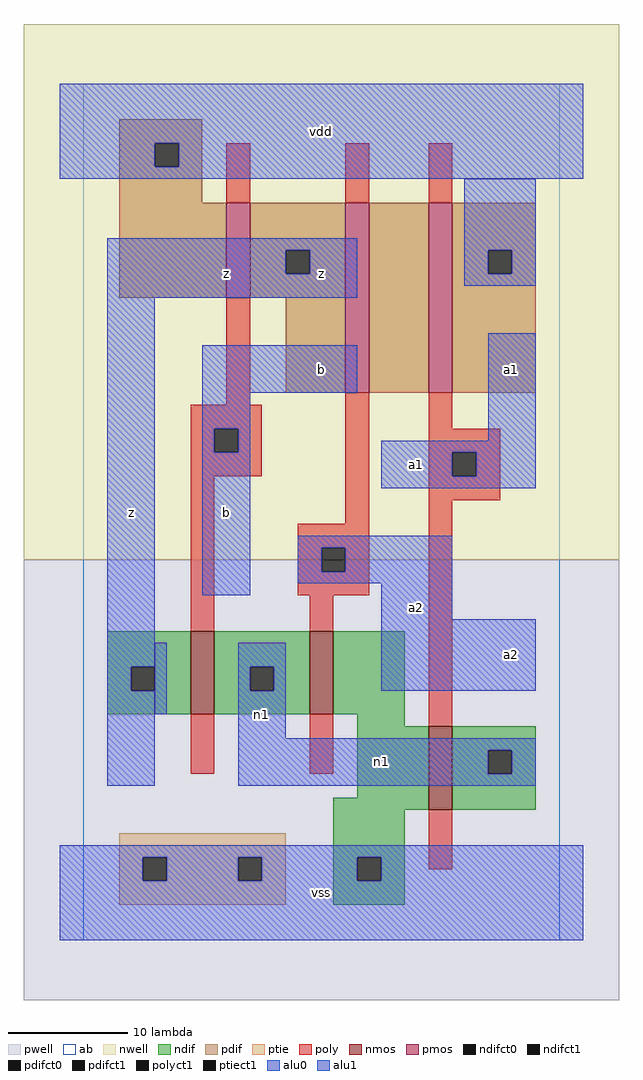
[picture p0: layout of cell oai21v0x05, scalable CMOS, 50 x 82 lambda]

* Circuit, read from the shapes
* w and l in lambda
.subckt oai21v0x05 a1 a2 b n1 vdd vss z
M1 n1 b z vss nfet w=7 l=2
M2 vss a2 n1 vss nfet w=7 l=2
M3 n1 a1 vss vss nfet w=7 l=2
M4 z b vdd n2 pfet w=8 l=2
M5 n3 a2 z n2 pfet w=16 l=2
M6 vdd a1 n3 n2 pfet w=16 l=2
.ends

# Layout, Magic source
magic
tech scmos
<< ab >>
rect 0 0 40 72
<< nwell >>
rect -5 32 45 77
<< pwell >>
rect -5 -5 45 32
<< poly >>
rect 12 62 14 67
rect 22 62 24 67
rect 29 62 31 67
rect 12 45 14 54
rect 9 43 15 45
rect 9 41 11 43
rect 13 41 15 43
rect 9 39 15 41
rect 9 26 11 39
rect 22 35 24 46
rect 18 33 24 35
rect 18 31 20 33
rect 22 31 24 33
rect 18 29 24 31
rect 29 43 31 46
rect 29 41 35 43
rect 29 39 31 41
rect 33 39 35 41
rect 29 37 35 39
rect 19 26 21 29
rect 9 14 11 19
rect 19 14 21 19
rect 29 18 31 37
rect 29 6 31 11
<< ndif >>
rect 2 23 9 26
rect 2 21 4 23
rect 6 21 9 23
rect 2 19 9 21
rect 11 23 19 26
rect 11 21 14 23
rect 16 21 19 23
rect 11 19 19 21
rect 21 19 27 26
rect 23 18 27 19
rect 23 12 29 18
rect 21 11 29 12
rect 31 16 38 18
rect 31 14 34 16
rect 36 14 38 16
rect 31 11 38 14
rect 21 7 27 11
rect 21 5 23 7
rect 25 5 27 7
rect 21 3 27 5
<< pdif >>
rect 3 67 10 69
rect 3 65 6 67
rect 8 65 10 67
rect 3 62 10 65
rect 3 54 12 62
rect 14 58 22 62
rect 14 56 17 58
rect 19 56 22 58
rect 14 54 22 56
rect 17 46 22 54
rect 24 46 29 62
rect 31 58 38 62
rect 31 56 34 58
rect 36 56 38 58
rect 31 46 38 56
<< alu1 >>
rect -2 67 42 72
rect -2 65 6 67
rect 8 65 42 67
rect -2 64 42 65
rect 2 58 23 59
rect 2 56 17 58
rect 19 56 23 58
rect 2 54 23 56
rect 2 23 6 54
rect 10 46 23 50
rect 10 43 14 46
rect 10 41 11 43
rect 13 41 14 43
rect 34 42 38 51
rect 10 29 14 41
rect 25 41 38 42
rect 25 39 31 41
rect 33 39 38 41
rect 25 38 38 39
rect 18 33 31 34
rect 18 31 20 33
rect 22 31 31 33
rect 18 30 31 31
rect 25 27 31 30
rect 2 21 4 23
rect 2 13 6 21
rect 25 21 38 27
rect -2 7 42 8
rect -2 5 5 7
rect 7 5 13 7
rect 15 5 23 7
rect 25 5 42 7
rect -2 0 42 5
<< ptie >>
rect 3 7 17 9
rect 3 5 5 7
rect 7 5 13 7
rect 15 5 17 7
rect 3 3 17 5
<< nmos >>
rect 9 19 11 26
rect 19 19 21 26
rect 29 11 31 18
<< pmos >>
rect 12 54 14 62
rect 22 46 24 62
rect 29 46 31 62
<< polyct1 >>
rect 11 41 13 43
rect 20 31 22 33
rect 31 39 33 41
<< ndifct0 >>
rect 14 21 16 23
rect 34 14 36 16
<< ndifct1 >>
rect 4 21 6 23
rect 23 5 25 7
<< ptiect1 >>
rect 5 5 7 7
rect 13 5 15 7
<< pdifct0 >>
rect 34 56 36 58
<< pdifct1 >>
rect 6 65 8 67
rect 17 56 19 58
<< alu0 >>
rect 32 58 38 64
rect 32 56 34 58
rect 36 56 38 58
rect 32 55 38 56
rect 6 19 7 25
rect 13 23 17 25
rect 13 21 14 23
rect 16 21 17 23
rect 13 17 17 21
rect 13 16 38 17
rect 13 14 34 16
rect 36 14 38 16
rect 13 13 38 14
<< labels >>
rlabel alu0 15 19 15 19 6 n1
rlabel alu0 25 15 25 15 6 n1
rlabel alu1 4 36 4 36 6 z
rlabel alu1 12 36 12 36 6 b
rlabel alu1 12 56 12 56 6 z
rlabel alu1 20 4 20 4 6 vss
rlabel alu1 28 28 28 28 6 a2
rlabel alu1 28 40 28 40 6 a1
rlabel alu1 20 48 20 48 6 b
rlabel alu1 20 56 20 56 6 z
rlabel alu1 20 68 20 68 6 vdd
rlabel alu1 36 24 36 24 6 a2
rlabel alu1 36 48 36 48 6 a1
<< end >>
